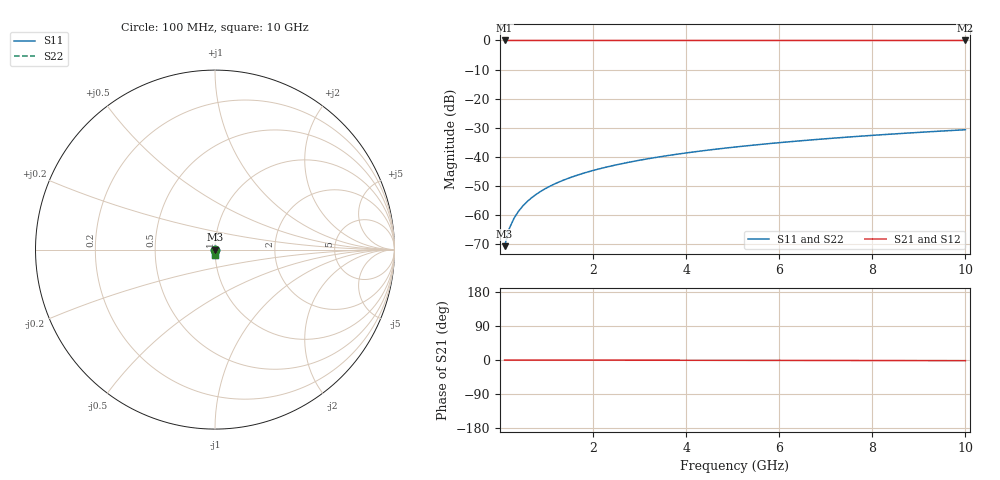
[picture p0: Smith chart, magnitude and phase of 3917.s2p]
# Hz S RI R 50.00
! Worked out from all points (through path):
!   100 points, 100 MHz to 10 GHz, reference 50 ohm
!   highest |S21| = 0.00 dB at 100 MHz (marker M1); lowest = 0.0 dB at 10 GHz (marker M2)
!   lowest |S11| = -70.8 dB at 100 MHz (marker M3), VSWR 1.00, Z = 50 - j0.029 ohm
!   |S11| at or under -10 dB: start of sweep to end of sweep
!   |S22| runs from -70.8 to -30.7 dB; largest |S21 - S12| = 0
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1e8  6.34e-07 -0.00029  1 -0.000302  1 -0.000302  6.34e-07 -0.00029
2e8  8.93e-08 -0.00058  1 -0.000604  1 -0.000604  8.93e-08 -0.00058
3e8  -6.33e-07 -0.00087  1 -0.000906  1 -0.000906  -6.33e-07 -0.00087
4e8  -1.53e-06 -0.00116  1 -0.00121  1 -0.00121  -1.53e-06 -0.00116
5e8  -2.61e-06 -0.00145  1 -0.00151  1 -0.00151  -2.61e-06 -0.00145
6e8  -3.86e-06 -0.00174  1 -0.00181  1 -0.00181  -3.86e-06 -0.00174
7e8  -5.29e-06 -0.00203  1 -0.00211  1 -0.00211  -5.29e-06 -0.00203
8e8  -6.89e-06 -0.00232  1 -0.00242  1 -0.00242  -6.89e-06 -0.00232
9e8  -8.67e-06 -0.00261  1 -0.00272  1 -0.00272  -8.67e-06 -0.00261
1.1e9  -1.28e-05 -0.00319  1 -0.00332  1 -0.00332  -1.28e-05 -0.00319
1.4e9  -2.02e-05 -0.00406  1 -0.00423  1 -0.00423  -2.02e-05 -0.00406
1.8e9  -3.26e-05 -0.00522  1 -0.00544  1 -0.00544  -3.26e-05 -0.00522
2.1e9  -4.38e-05 -0.00609  1 -0.00635  1 -0.00635  -4.38e-05 -0.00609
2.5e9  -6.11e-05 -0.00726  0.9999 -0.00756  0.9999 -0.00756  -6.11e-05 -0.00726
2.9e9  -8.13e-05 -0.00842  0.9999 -0.00877  0.9999 -0.00877  -8.13e-05 -0.00842
3.4e9  -0.000111 -0.00988  0.9999 -0.0103  0.9999 -0.0103  -0.000111 -0.00988
4.2e9  -0.000167 -0.0122  0.9998 -0.0127  0.9998 -0.0127  -0.000167 -0.0122
5.1e9  -0.000243 -0.0148  0.9998 -0.0155  0.9998 -0.0155  -0.000243 -0.0148
5.9e9  -0.000324 -0.0172  0.9997 -0.0179  0.9997 -0.0179  -0.000324 -0.0172
6.7e9  -0.000415 -0.0195  0.9996 -0.0203  0.9996 -0.0203  -0.000415 -0.0195
8.4e9  -0.000648 -0.0245  0.9993 -0.0255  0.9993 -0.0255  -0.000648 -0.0245
1e10  -0.000915 -0.0292  0.9991 -0.0304  0.9991 -0.0304  -0.000915 -0.0292
